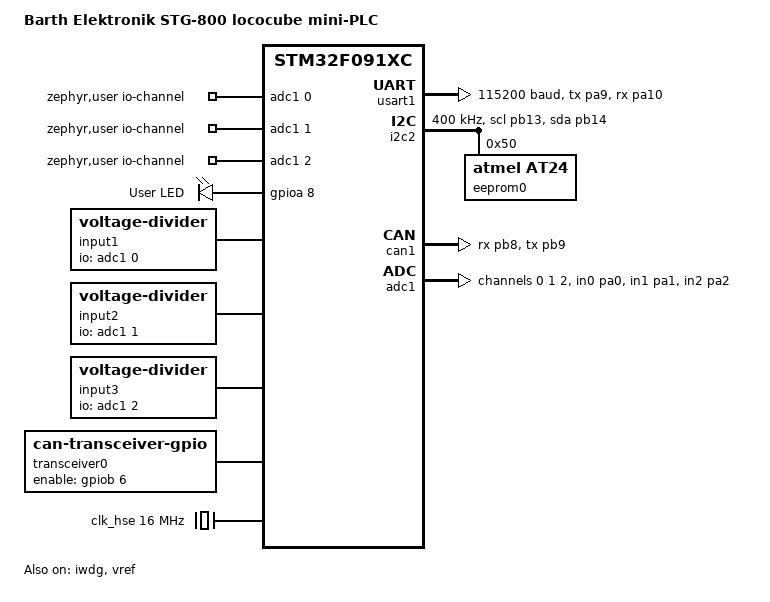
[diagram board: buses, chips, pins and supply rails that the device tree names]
/*
 * Copyright (c) 2017 Bobby Noelte
 * Copyright (c) 2026 Jonas Berg
 *
 * SPDX-License-Identifier: Apache-2.0
 */

/dts-v1/;
#include <st/f0/stm32f091Xc.dtsi>
#include <st/f0/stm32f091c(b-c)ux-pinctrl.dtsi>

/ {
	model = "Barth Elektronik STG-800 lococube mini-PLC";
	compatible = "barth,stg_800";

	zephyr,user {
		io-channels = <&adc1 0>, <&adc1 1>, <&adc1 2>;
	};

	chosen {
		zephyr,canbus = &can1;
		zephyr,code-partition = &slot0_partition;
		zephyr,console = &usart1;
		zephyr,flash = &flash0;
		zephyr,shell-uart = &usart1;
		zephyr,sram = &sram0;
	};

	leds: leds {
		compatible = "gpio-leds";

		green_led: green_led {
			gpios = <&gpioa 8 GPIO_ACTIVE_HIGH>;
			label = "User LED";
		};
	};

	aliases {
		led0 = &green_led;
		watchdog0 = &iwdg;
		eeprom-0 = &eeprom0;
	};

	input1: input1 {
		compatible = "voltage-divider";
		io-channels = <&adc1 0>;
		output-ohms = <1178>;
		full-ohms = <11000>;
	};

	input2: input2 {
		compatible = "voltage-divider";
		io-channels = <&adc1 1>;
		output-ohms = <1178>;
		full-ohms = <11000>;
	};

	input3: input3 {
		compatible = "voltage-divider";
		io-channels = <&adc1 2>;
		output-ohms = <1178>;
		full-ohms = <11000>;
	};

	transceiver0: can-phy0 {
		compatible = "can-transceiver-gpio";
		enable-gpios = <&gpiob 6 GPIO_ACTIVE_HIGH>;
		max-bitrate = <1000000>;
		#phy-cells = <0>;
		status = "okay";
	};
};

&clk_hse {
	clock-frequency = <DT_FREQ_M(16)>; /* Crystal, in PF0, out PF1 */
	status = "okay";
};

&clk_lsi {
	status = "okay";
};

&pll {
	prediv = <1>;
	mul = <3>;
	clocks = <&clk_hse>;
	status = "okay";
};

&rcc {
	clocks = <&pll>;
	clock-frequency = <DT_FREQ_M(48)>;
	ahb-prescaler = <1>;
	apb1-prescaler = <1>;
};

&usart1 {
	pinctrl-0 = <&usart1_tx_pa9 &usart1_rx_pa10>;
	pinctrl-names = "default";
	current-speed = <115200>;
	status = "okay";
};

&i2c2 {
	pinctrl-0 = <&i2c2_scl_pb13 &i2c2_sda_pb14>;
	pinctrl-names = "default";
	clock-frequency = <I2C_BITRATE_FAST>;
	status = "okay";

	eeprom0: eeprom@50 {
		compatible = "atmel,at24";
		status = "okay";
		reg = <0x50>;
		size = <DT_SIZE_K(8)>;
		address-width = <16>;
		timeout = <10>;
		pagesize = <32>;
	};
};

&can1 {
	pinctrl-0 = <&can_rx_pb8 &can_tx_pb9>;
	pinctrl-names = "default";
	status = "okay";
};

&iwdg {
	status = "okay";
};

&adc1 {
	pinctrl-0 = <&adc_in0_pa0 &adc_in1_pa1 &adc_in2_pa2>;
	pinctrl-names = "default";
	st,adc-clock-source = "SYNC";
	st,adc-prescaler = <4>;
	status = "okay";

	#address-cells = <1>;
	#size-cells = <0>;

	channel@0 {
		reg = <0x0>;
		zephyr,gain = "ADC_GAIN_1";
		zephyr,reference = "ADC_REF_INTERNAL";
		zephyr,acquisition-time = <ADC_ACQ_TIME_DEFAULT>;
		zephyr,resolution = <12>;
		zephyr,vref-mv = <3300>;
	};

	channel@1 {
		reg = <0x1>;
		zephyr,gain = "ADC_GAIN_1";
		zephyr,reference = "ADC_REF_INTERNAL";
		zephyr,acquisition-time = <ADC_ACQ_TIME_DEFAULT>;
		zephyr,resolution = <12>;
		zephyr,vref-mv = <3300>;
	};

	channel@2 {
		reg = <0x2>;
		zephyr,gain = "ADC_GAIN_1";
		zephyr,reference = "ADC_REF_INTERNAL";
		zephyr,acquisition-time = <ADC_ACQ_TIME_DEFAULT>;
		zephyr,resolution = <12>;
		zephyr,vref-mv = <3300>;
	};
};

&dma1 {
	status = "okay";
};

&vref {
	status = "okay";
};

&flash0 {
	#address-cells = <1>;
	#size-cells = <1>;
	ranges = <0x0 0x90000000 DT_SIZE_K(256)>;

	partitions {
		ranges;
		#address-cells = <1>;
		#size-cells = <1>;

		boot_partition: partition@0 {
			compatible = "zephyr,mapped-partition";
			label = "mcuboot";
			reg = <0x00000000 DT_SIZE_K(48)>;
		};

		slot0_partition: partition@c000 {
			compatible = "zephyr,mapped-partition";
			label = "image-0";
			reg = <0x0000c000 DT_SIZE_K(100)>;
		};

		slot1_partition: partition@25000 {
			compatible = "zephyr,mapped-partition";
			label = "image-1";
			reg = <0x00025000 DT_SIZE_K(102)>;
		};

		storage_partition: partition@3e800 {
			compatible = "zephyr,mapped-partition";
			label = "storage";
			reg = <0x0003e800 DT_SIZE_K(6)>;
		};
	};
};
